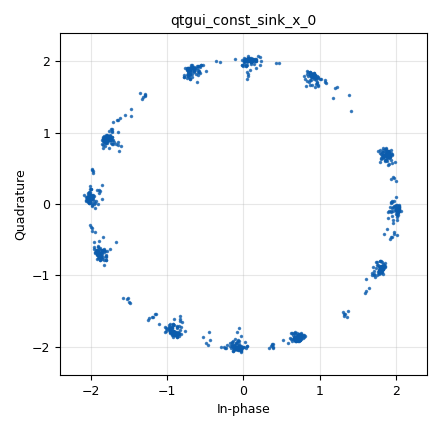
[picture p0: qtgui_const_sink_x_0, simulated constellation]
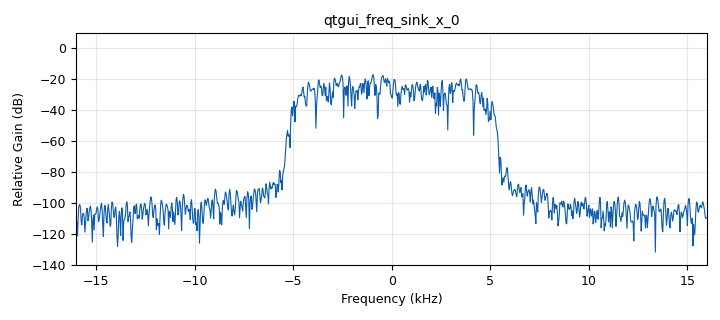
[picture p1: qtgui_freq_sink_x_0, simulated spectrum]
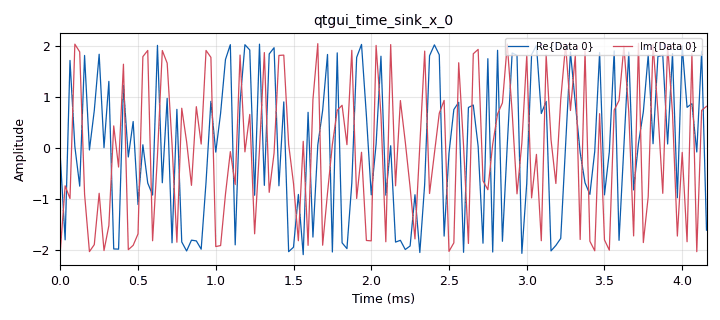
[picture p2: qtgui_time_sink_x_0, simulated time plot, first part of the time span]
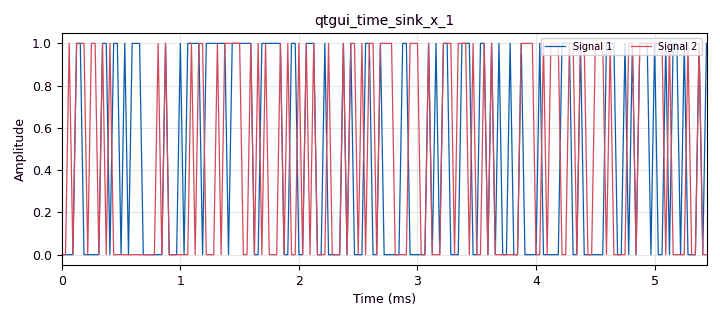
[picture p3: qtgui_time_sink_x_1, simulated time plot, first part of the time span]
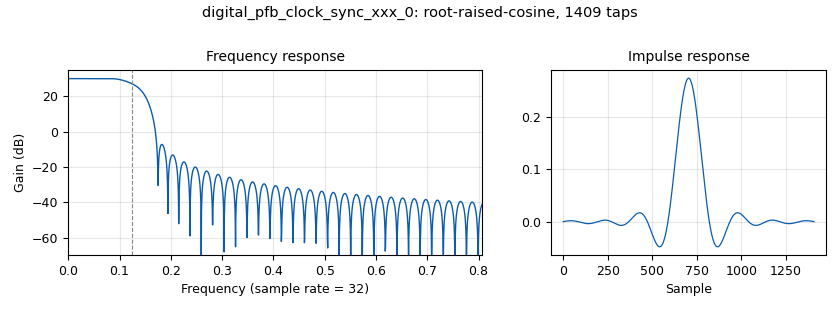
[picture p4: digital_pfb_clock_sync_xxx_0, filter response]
options:
  parameters:
    author: B. Kerler
    generate_options: qt_gui
    id: top
    output_language: python
    title: QPSK Modulation
  states: {}

blocks:
- name: adaptive
  id: variable_adaptive_algorithm
  parameters:
    cons: variable_constellation_0
    step_size: '.0001'
    type: lms
  states: {}
- name: freq_offset
  id: variable_qtgui_range
  parameters:
    label: Frequency Offset
    outputmsgname: value
    showports: 'False'
    start: '-100e-6'
    step: '1e-3'
    stop: '100e-3'
    value: '0'
  states: {}
- name: nfilts
  id: variable
  parameters:
    value: '32'
  states: {}
- name: noise_volt
  id: variable_qtgui_range
  parameters:
    label: Noise Voltage
    outputmsgname: value
    showports: 'False'
    start: '0'
    step: '10e-3'
    stop: '1'
    value: '0'
  states: {}
- name: pss
  id: variable
  parameters:
    value: '0.35'
  states: {}
- name: qpsk
  id: variable_constellation
  parameters:
    precision: '8'
    type: qpsk
  states: {}
- name: rrc_taps
  id: variable
  parameters:
    value: firdes.root_raised_cosine(nfilts, nfilts, 1.0/float(samples_per_sym), 0.35, 11*samples_per_sym*nfilts)
  states: {}
- name: samp_rate
  id: variable
  parameters:
    value: '32000'
  states: {}
- name: samples_per_sym
  id: variable
  parameters:
    value: '4'
  states: {}
- name: time_offset
  id: variable_qtgui_range
  parameters:
    outputmsgname: value
    showports: 'False'
    start: '999e-3'
    step: '100e-6'
    stop: '1000'
    value: '1'
  states: {}
- name: timing_loop_bw
  id: variable_qtgui_range
  parameters:
    gui_hint: 3,1,1,1
    label: 'Time: BW'
    outputmsgname: value
    showports: 'False'
    start: '0.0'
    step: '0.005'
    stop: '0.2'
    value: 2*pi/100
  states: {}
- name: variable_constellation_0
  id: variable_constellation
  parameters:
    precision: '8'
    type: qpsk
  states: {}
- name: analog_random_source_x_0
  id: analog_random_source_x
  parameters:
    max: '256'
    min: '0'
    num_samps: '1000'
    repeat: 'True'
    type: byte
  states: {}
- name: blocks_char_to_float_0
  id: blocks_char_to_float
  parameters:
    scale: '1'
  states: {}
- name: blocks_char_to_float_1
  id: blocks_char_to_float
  parameters:
    scale: '1'
  states: {}
- name: blocks_delay_0
  id: blocks_delay
  parameters:
    delay: '50'
    type: float
  states: {}
- name: blocks_throttle_0
  id: blocks_throttle
  parameters:
    samples_per_second: samp_rate
    type: complex
  states: {}
- name: blocks_unpack_k_bits_bb_0
  id: blocks_unpack_k_bits_bb
  parameters:
    k: 8//4
  states: {}
- name: blocks_unpack_k_bits_bb_1
  id: blocks_unpack_k_bits_bb
  parameters:
    k: '8'
  states: {}
- name: channels_channel_model_0
  id: channels_channel_model
  parameters:
    epsilon: time_offset
    freq_offset: freq_offset
    noise_voltage: noise_volt
    seed: '0'
    taps: '1'
  states: {}
- name: digital_constellation_decoder_cb_0
  id: digital_constellation_decoder_cb
  parameters:
    constellation: variable_constellation_0
  states: {}
- name: digital_constellation_modulator_0
  id: digital_constellation_modulator
  parameters:
    comment: |-
      Excess BW = Pulse Shaping Shape
      higher PSS means higher Bandwidth
    constellation: qpsk
    differential: 'True'
    excess_bw: pss
    samples_per_symbol: samples_per_sym
  states: {}
- name: digital_costas_loop_cc_0
  id: digital_costas_loop_cc
  parameters:
    comment: |-
      Phase and fine freq correction
      Order = 4 for QPSK, 2 for BPSK, 8 for 8PSK
    order: '4'
    w: 2*pi/100
  states: {}
- name: digital_diff_decoder_bb_0
  id: digital_diff_decoder_bb
  parameters:
    coding: digital.DIFF_DIFFERENTIAL
    modulus: '4'
  states: {}
- name: digital_linear_equalizer_0
  id: digital_linear_equalizer
  parameters:
    alg: adaptive
    comment: Handle multi-path issues
    num_taps: '11'
    sps: samples_per_sym
  states: {}
- name: digital_map_bb_0
  id: digital_map_bb
  parameters:
    map: '[0,1,2,3]'
  states: {}
- name: digital_pfb_clock_sync_xxx_0
  id: digital_pfb_clock_sync_xxx
  parameters:
    comment: Do time recovery and use a root raised filter for reducing inter signal inteference
    filter_size: nfilts
    init_phase: nfilts/2
    loop_bw: timing_loop_bw
    max_dev: '1.5'
    osps: '1'
    sps: samples_per_sym
    taps: rrc_taps
    type: ccf
  states: {}
- name: import_0
  id: import
  parameters:
    imports: from math import pi
  states: {}
- name: qtgui_const_sink_x_0
  id: qtgui_const_sink_x
  parameters:
    autoscale: 'True'
    grid: 'True'
    size: '1024'
    type: complex
  states: {}
- name: qtgui_freq_sink_x_0
  id: qtgui_freq_sink_x
  parameters:
    bw: samp_rate
    fc: '0'
    fftsize: '1024'
    type: complex
  states: {}
- name: qtgui_time_sink_x_0
  id: qtgui_time_sink_x
  parameters:
    autoscale: 'True'
    grid: 'True'
    size: '1024'
    srate: samp_rate
    type: complex
  states: {}
- name: qtgui_time_sink_x_1
  id: qtgui_time_sink_x
  parameters:
    autoscale: 'True'
    grid: 'True'
    nconnections: '2'
    size: '1024'
    srate: samp_rate
    type: float
  states: {}
- name: virtual_sink_0
  id: virtual_sink
  parameters:
    stream_id: mod
  states: {}
- name: virtual_sink_1
  id: virtual_sink
  parameters:
    stream_id: demod
  states: {}
- name: virtual_sink_2
  id: virtual_sink
  parameters:
    stream_id: recovery
  states: {}
- name: virtual_sink_3
  id: virtual_sink
  parameters:
    stream_id: output_byte
  states: {}
- name: virtual_source_0
  id: virtual_source
  parameters:
    stream_id: recovery
  states: {}
- name: virtual_source_1
  id: virtual_source
  parameters:
    comment: Add noise + real world interference
    stream_id: mod
  states: {}
- name: virtual_source_2
  id: virtual_source
  parameters:
    comment: Demodulate signal
    stream_id: demod
  states: {}
- name: virtual_source_3
  id: virtual_source
  parameters:
    alias: display
    comment: Decoder
    stream_id: recovery
  states: {}
- name: virtual_source_4
  id: virtual_source
  parameters:
    comment: Compare with original source and delay
    stream_id: output_byte
  states: {}

connections:
- [analog_random_source_x_0, '0', blocks_unpack_k_bits_bb_1, '0']
- [analog_random_source_x_0, '0', digital_constellation_modulator_0, '0']
- [blocks_char_to_float_0, '0', qtgui_time_sink_x_1, '0']
- [blocks_char_to_float_1, '0', blocks_delay_0, '0']
- [blocks_delay_0, '0', qtgui_time_sink_x_1, '1']
- [blocks_throttle_0, '0', qtgui_freq_sink_x_0, '0']
- [blocks_throttle_0, '0', virtual_sink_0, '0']
- [blocks_unpack_k_bits_bb_0, '0', blocks_char_to_float_0, '0']
- [blocks_unpack_k_bits_bb_1, '0', virtual_sink_3, '0']
- [channels_channel_model_0, '0', virtual_sink_1, '0']
- [digital_constellation_decoder_cb_0, '0', digital_diff_decoder_bb_0, '0']
- [digital_constellation_modulator_0, '0', blocks_throttle_0, '0']
- [digital_costas_loop_cc_0, '0', virtual_sink_2, '0']
- [digital_diff_decoder_bb_0, '0', digital_map_bb_0, '0']
- [digital_linear_equalizer_0, '0', digital_costas_loop_cc_0, '0']
- [digital_map_bb_0, '0', blocks_unpack_k_bits_bb_0, '0']
- [digital_pfb_clock_sync_xxx_0, '0', digital_linear_equalizer_0, '0']
- [virtual_source_0, '0', qtgui_const_sink_x_0, '0']
- [virtual_source_0, '0', qtgui_time_sink_x_0, '0']
- [virtual_source_1, '0', channels_channel_model_0, '0']
- [virtual_source_2, '0', digital_pfb_clock_sync_xxx_0, '0']
- [virtual_source_3, '0', digital_constellation_decoder_cb_0, '0']
- [virtual_source_4, '0', blocks_char_to_float_1, '0']

metadata:
  file_format: 1
  grc_version: v3.11.0.0git-215-g9a698313
